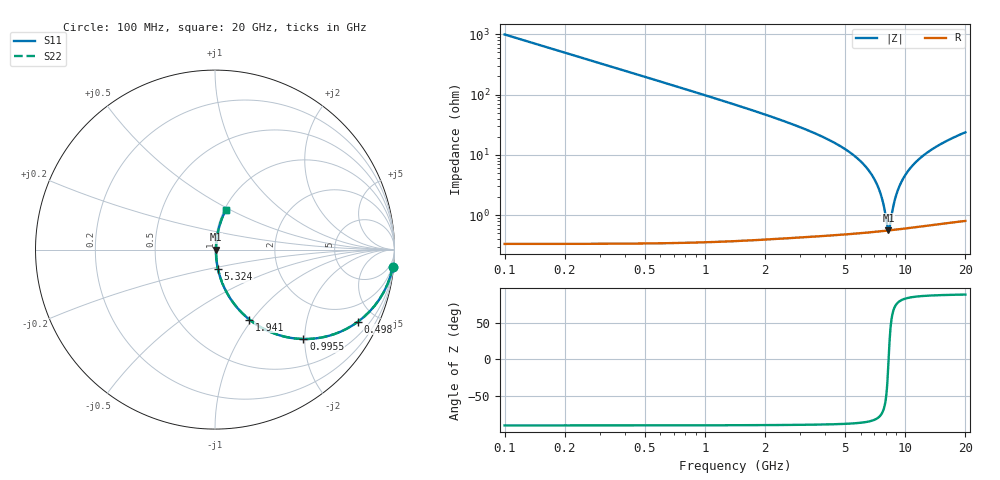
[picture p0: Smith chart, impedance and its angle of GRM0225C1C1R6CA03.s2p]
!Murata Part Number: GRM0225C1C1R6CA03
!These Parameters are Measured in Series Mode Connection
!Data Generated on Mar 30, 2021
!  o--ll--o
!Port1  Port2
!  o------o
!Operation Temp=25[degC], DC Bias Voltage=0[V]
!Freq. Start=100[MHz] Stop=20[GHz] 401[Steps]
# Hz S RI R 50
!Freq.(Hz) S11(Real) S11(Imag) S21(Real) S21(Imag) S12(Real) S12(Imag) S22(Real) S22(Imag)
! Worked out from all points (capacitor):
!   401 points, 100 MHz to 20 GHz, reference 50 ohm
!   read as one part in series: C = 1.6 pF near 199.5 MHz
!   lowest |Z| = 561 mohm at 8.259 GHz (marker M1)
!   series resonance near 8.271 GHz, so ESL is about 230 pH
!   S11 on the Smith chart (normalised r, x): 100 MHz: 1, -20; 498 MHz: 1.01, -3.98; 995.5 MHz: 1.01, -1.97; 1.941 GHz: 1.01, -0.97; 5.324 GHz: 1.01, -0.22; 20 GHz: 1.02, +0.48
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1e8  0.99 -0.0995  0.01 0.0995  0.01 0.0995  0.99 -0.0995
2.99e8  0.9167 -0.2758  0.0833 0.2758  0.0833 0.2758  0.9167 -0.2758
4.98e8  0.798 -0.4007  0.202 0.4007  0.202 0.4007  0.798 -0.4007
9.955e8  0.4921 -0.4981  0.5079 0.4981  0.5079 0.4981  0.4921 -0.4981
1.44325e9  0.3093 -0.4594  0.6907 0.4594  0.6907 0.4594  0.3093 -0.4594
1.94075e9  0.1916 -0.3895  0.8084 0.3895  0.8084 0.3895  0.1916 -0.3895
3.43325e9  0.0578 -0.2244  0.9422 0.2244  0.9422 0.2244  0.0578 -0.2244
5.32375e9  0.0164 -0.1067  0.9836 0.1067  0.9836 0.1067  0.0164 -0.1067
6.7665e9  0.00751 -0.0478  0.9925 0.0478  0.9925 0.0478  0.00751 -0.0478
7.5625e9  0.00585 -0.0212  0.9941 0.0212  0.9941 0.0212  0.00585 -0.0212
7.861e9  0.00562 -0.012  0.9944 0.012  0.9944 0.012  0.00562 -0.012
8.1595e9  0.00556 -0.00322  0.9944 0.00322  0.9944 0.00322  0.00556 -0.00322
8.259e9  0.00557 -0.000349  0.9944 0.000349  0.9944 0.000349  0.00557 -0.000349
8.3585e9  0.0056 0.00248  0.9944 -0.00248  0.9944 -0.00248  0.0056 0.00248
8.70675e9  0.00583 0.0121  0.9942 -0.0121  0.9942 -0.0121  0.00583 0.0121
9.055e9  0.00623 0.0214  0.9938 -0.0214  0.9938 -0.0214  0.00623 0.0214
9.50275e9  0.00696 0.0328  0.993 -0.0328  0.993 -0.0328  0.00696 0.0328
1.005e10  0.00815 0.0461  0.9918 -0.0461  0.9918 -0.0461  0.00815 0.0461
1.1443e10  0.0124 0.0773  0.9876 -0.0773  0.9876 -0.0773  0.0124 0.0773
1.338325e10  0.0205 0.1158  0.9795 -0.1158  0.9795 -0.1158  0.0205 0.1158
1.67165e10  0.0386 0.173  0.9614 -0.173  0.9614 -0.173  0.0386 0.173
2e10  0.0602 0.2216  0.9398 -0.2216  0.9398 -0.2216  0.0602 0.2216
